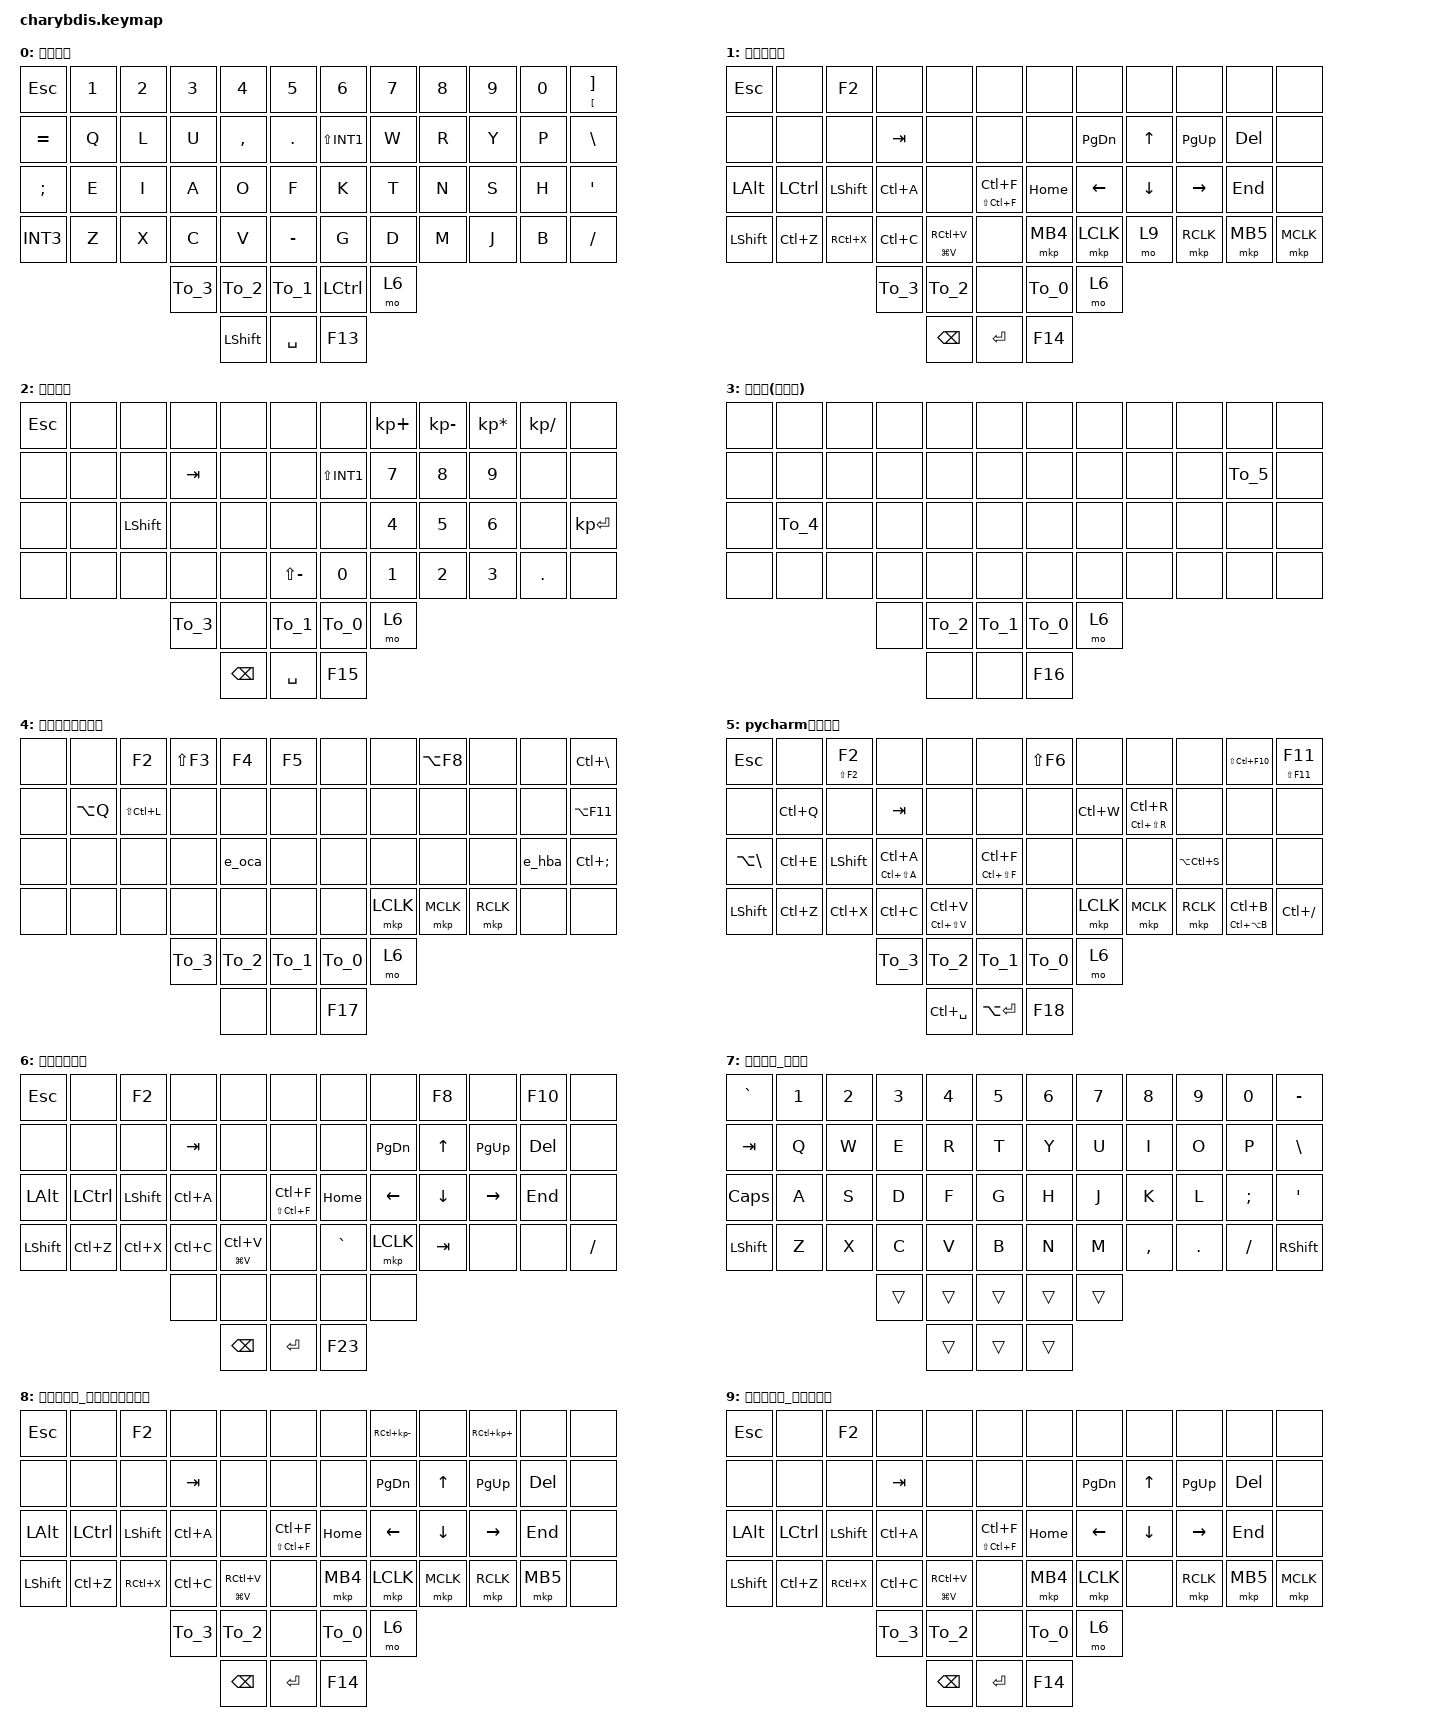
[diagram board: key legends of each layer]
#include <dt-bindings/zmk/mouse.h>
#include <behaviors/mouse_keys.dtsi>
#include <behaviors.dtsi>
#include <dt-bindings/zmk/keys.h>
#include <dt-bindings/zmk/pointing.h>

/ {
    /* --- トラックボール入力設定  --- */

    trackball_listener {
        compatible = "zmk,input-behavior-listener";
        device = <&vtrackball>;
        status = "okay";

        /* 根拠: 0,1,2の全レイヤーでマウス移動を許可する */

        layers = <0 1 2 3 4 5 6 7 8>;
        evt-type = <INPUT_EV_REL>;
        x-input-code = <INPUT_REL_X>;
        y-input-code = <INPUT_REL_Y>;
        scale-multiplier = <1>;
        scale-divisor = <4>;
    };

    ib_wheel_scaler: ib_wheel_scaler {
        compatible = "zmk,input-behavior-scaler";
        #binding-cells = <2>;
        evt-type = <INPUT_EV_REL>;
        input-code = <INPUT_REL_WHEEL>;
    };

    trackball_scroll_listener {
        compatible = "zmk,input-behavior-listener";
        device = <&vtrackball>;
        status = "okay";

        /* Layer 9 = mouse_scroll */

        layers = <9>;
        evt-type = <INPUT_EV_REL>;

        /* 横方向はいったん無視 */

        x-input-code = <INPUT_REL_MISC>;

        /* 縦方向のトラックボール移動をスクロールに変換 */

        y-input-code = <INPUT_REL_WHEEL>;
        y-invert;

        /* 2つ目の数字を小さくすると速く、大きくすると遅くなる */

        bindings = <&ib_wheel_scaler 1 32>;
    };

    /* --- コンボ設定 --- */

    combos {
        compatible = "zmk,combos";

        zenkaku-hankaku-toggle {
            bindings = <&kp GRAVE>;
            key-positions = <14 13>;
            timeout-ms = <60>;
            require-prior-idle-ms = <100>;
            layers = <0 2 1 3>;
            slow-release;
        };

        voice_input {
            bindings = <&kp LC(LEFT_GUI)>;
            key-positions = <36 37>;
            layers = <0 2 1>;
        };

        left {
            bindings = <&left_arrow>;
            key-positions = <37 31>;
            layers = <0>;
        };

        upper {
            bindings = <&upper_arrow>;
            key-positions = <37 20>;
            layers = <0>;
        };

        under {
            bindings = <&under_arrow>;
            key-positions = <37 32>;
            layers = <0>;
        };

        right {
            bindings = <&right_arrow>;
            key-positions = <37 33>;
            layers = <0>;
        };
    };

    /* --- 特殊挙動定義 (エラー解消の根拠) --- */

    behaviors {
        auto_shift: auto_shift {
            compatible = "zmk,behavior-hold-tap";
            label = "AUTO_SHIFT";
            #binding-cells = <2>;
            flavor = "tap-preferred";
            tapping-term-ms = <280>;
            quick-tap-ms = <175>;
            bindings = <&kp>, <&kp>;
        };

        hmr: hmr {
            compatible = "zmk,behavior-hold-tap";
            label = "HMR";
            #binding-cells = <2>;
            tapping-term-ms = <190>;
            quick-tap-ms = <175>;
            flavor = "balanced";
            bindings = <&kp>, <&kp>;

            hold-trigger-key-positions = <0 1 2 3 4 5 12 13 14 15 16 17 24 25 26 27 28 29 36 37 38 39 40 41 48 49 50 51 52 53 54 55>;
        };

        hml: hml {
            compatible = "zmk,behavior-hold-tap";
            label = "HML";
            #binding-cells = <2>;
            tapping-term-ms = <190>;
            quick-tap-ms = <175>;
            flavor = "balanced";
            bindings = <&kp>, <&kp>;

            hold-trigger-key-positions = <6 7 8 9 10 11 18 19 20 21 22 23 30 31 32 33 34 35 42 43 44 45 46 47 48 49 50 51 52 53 54 55>;
        };
    };

    /* --- キーマップ --- */

    macros {
        e_oca: e_adjust {
            compatible = "zmk,behavior-macro";
            #binding-cells = <0>;
            bindings = <&kp LALT &kp O &kp C &kp A>;
            label = "E_ADJUST";
            wait-ms = <50>;
        };

        e_hba: e_hba {
            compatible = "zmk,behavior-macro";
            #binding-cells = <0>;
            bindings = <&kp LALT &kp H &kp B &kp A>;
            label = "E_HBA";
            wait-ms = <50>;
        };

        To_0: To_0 {
            compatible = "zmk,behavior-macro";
            #binding-cells = <0>;
            bindings = <&to 0>, <&macro_wait_time 100>, <&kp F13>;

            label = "TO_0";
        };

        To_1: To_1 {
            compatible = "zmk,behavior-macro";
            #binding-cells = <0>;
            bindings = <&to 1>, <&macro_wait_time 100>, <&kp F14>;

            label = "TO_1";
        };

        To_2: To_2 {
            compatible = "zmk,behavior-macro";
            #binding-cells = <0>;
            bindings = <&to 2>, <&macro_wait_time 100>, <&kp F15>;

            label = "TO_2";
        };

        To_3: To_3 {
            compatible = "zmk,behavior-macro";
            #binding-cells = <0>;
            bindings = <&to 3>, <&macro_wait_time 100>, <&kp F16>;

            label = "TO_3";
        };

        left_arrow: left_arrow {
            compatible = "zmk,behavior-macro";
            #binding-cells = <0>;
            bindings = <&kp Z &kp H>;
            label = "LEFT";
        };

        under_arrow: under_arrow {
            compatible = "zmk,behavior-macro";
            #binding-cells = <0>;
            bindings = <&kp Z &kp J>;
            label = "UNDER_ARROW";
        };

        upper_arrow: upper_arrow {
            compatible = "zmk,behavior-macro";
            #binding-cells = <0>;
            bindings = <&kp Z &kp K>;
            label = "UPPER_ARROW";
        };

        right_arrow: right_arrow {
            compatible = "zmk,behavior-macro";
            #binding-cells = <0>;
            bindings = <&kp Z &kp L>;
            label = "RIGHT";
        };

        To_4: To_4 {
            compatible = "zmk,behavior-macro";
            #binding-cells = <0>;
            bindings = <&to 4>, <&macro_wait_time 100>, <&kp F17>;

            label = "TO_4";
        };

        To_5: To_5 {
            compatible = "zmk,behavior-macro";
            #binding-cells = <0>;
            bindings = <&to 5>, <&macro_wait_time 100>, <&kp F18>;

            label = "TO_5";
        };
    };

    keymap {
        compatible = "zmk,keymap";

        onisi {
            label = "大西配列";
            bindings = <
&kp ESC        &kp NUMBER_1  &kp NUMBER_2  &kp NUMBER_3  &kp NUMBER_4    &kp N5        &kp NUMBER_6  &kp NUMBER_7  &kp NUMBER_8  &kp NUMBER_9  &kp NUMBER_0  &auto_shift LBKT RBKT
&kp EQUAL      &kp Q         &kp L         &kp U         &kp COMMA       &kp PERIOD    &kp LS(INT1)  &kp W         &kp R         &kp Y         &kp P         &kp BSLH
&kp SEMICOLON  &kp E         &kp I         &kp A         &kp O           &kp F         &kp K         &kp T         &kp N         &kp S         &kp H         &kp SQT
&kp INT3       &kp Z         &kp X         &kp C         &kp V           &kp MINUS     &kp G         &kp D         &kp M         &kp J         &kp B         &kp SLASH
                                           &To_3         &To_2           &To_1         &kp LCTRL     &mo 6
                                                         &kp LEFT_SHIFT  &kp SPACE     &kp F13
            >;
        };

        mouse {
            label = "マウス移動";
            bindings = <
&kp ESC    &none      &kp F2     &none      &none                    &none                          &none     &none          &none     &none        &none     &none
&none      &none      &none      &kp TAB    &none                    &none                          &none     &kp PAGE_DOWN  &kp UP    &kp PAGE_UP  &kp DEL   &none
&kp LALT   &kp LCTRL  &kp LSHFT  &kp LC(A)  &none                    &auto_shift LS(LC(F)) LC(F)    &kp HOME  &kp LEFT       &kp DOWN  &kp RIGHT    &kp END   &none
&kp LSHFT  &kp LC(Z)  &kp RC(X)  &kp LC(C)  &auto_shift LG(V) RC(V)  &none                          &mkp MB4  &mkp LCLK      &mo 9     &mkp RCLK    &mkp MB5  &mkp MCLK
                                 &To_3      &To_2                    &none                          &To_0     &mo 6
                                            &kp BSPC                 &kp RET                        &kp F14
            >;
        };

        number {
            bindings = <
&kp ESC  &none  &none      &none    &none     &none            &none         &kp KP_PLUS   &kp KP_MINUS  &kp KP_ASTERISK  &kp KP_SLASH  &none
&none    &none  &none      &kp TAB  &none     &none            &kp LS(INT1)  &kp NUMBER_7  &kp N8        &kp N9           &none         &none
&none    &none  &kp LSHFT  &none    &none     &none            &none         &kp NUMBER_4  &kp NUMBER_5  &kp NUMBER_6     &none         &kp KP_ENTER
&none    &none  &none      &none    &none     &kp LS(MINUS)    &kp NUMBER_0  &kp NUMBER_1  &kp NUMBER_2  &kp NUMBER_3     &kp DOT       &none
                           &To_3    &none     &To_1            &To_0         &mo 6
                                    &kp BSPC  &kp SPACE        &kp F15
            >;

            label = "テンキー";
        };

        app_base {
            bindings = <
&none  &none  &none  &none  &none  &none    &none    &none  &none  &none  &none  &none
&none  &none  &none  &none  &none  &none    &none    &none  &none  &none  &To_5  &none
&none  &To_4  &none  &none  &none  &none    &none    &none  &none  &none  &none  &none
&none  &none  &none  &none  &none  &none    &none    &none  &none  &none  &none  &none
                     &none  &To_2  &To_1    &To_0    &mo 6
                            &none  &none    &kp F16
            >;

            label = "ベース(アプリ)";
        };

        Excel {
            bindings = <
&none  &none      &kp F2         &kp LS(F3)  &kp F4  &kp F5    &none    &none      &kp LA(F8)  &none      &none   &kp LC(BSLH)
&none  &kp LA(Q)  &kp LS(LC(L))  &none       &none   &none     &none    &none      &none       &none      &none   &kp LA(F11)
&none  &none      &none          &none       &e_oca  &none     &none    &none      &none       &none      &e_hba  &kp LC(SEMICOLON)
&none  &none      &none          &none       &none   &none     &none    &mkp LCLK  &mkp MCLK   &mkp RCLK  &none   &none
                                 &To_3       &To_2   &To_1     &To_0    &mo 6
                                             &none   &none     &kp F17
            >;

            label = "エクセルコマンド";
        };

        pycharm {
            bindings = <
&kp ESC            &none      &auto_shift LS(F2) F2  &none                        &none                        &none                          &kp LS(F6)  &none      &none                        &none          &kp LS(LC(F10))              &auto_shift LS(F11) F11
&none              &kp LC(Q)  &none                  &kp TAB                      &none                        &none                          &none       &kp LC(W)  &auto_shift LC(LS(R)) LC(R)  &none          &none                        &none
&kp LA(BACKSLASH)  &kp LC(E)  &kp LSHFT              &auto_shift LC(LS(A)) LC(A)  &none                        &auto_shift LC(LS(F)) LC(F)    &none       &none      &none                        &kp LA(LC(S))  &none                        &none
&kp LSHFT          &kp LC(Z)  &kp LC(X)              &kp LC(C)                    &auto_shift LC(LS(V)) LC(V)  &none                          &none       &mkp LCLK  &mkp MCLK                    &mkp RCLK      &auto_shift LC(LA(B)) LC(B)  &kp LC(SLASH)
                                                     &To_3                        &To_2                        &To_1                          &To_0       &mo 6
                                                                                  &kp LC(SPACE)                &kp LA(RET)                    &kp F18
            >;

            label = "pycharmコマンド";
        };

        edit {
            label = "文字入力確定";
            bindings = <
&kp ESC    &none      &kp F2     &none      &none                    &none                          &none      &none          &kp F8    &none        &kp F10  &none
&none      &none      &none      &kp TAB    &none                    &none                          &none      &kp PAGE_DOWN  &kp UP    &kp PAGE_UP  &kp DEL  &none
&kp LALT   &kp LCTRL  &kp LSHFT  &kp LC(A)  &none                    &auto_shift LS(LC(F)) LC(F)    &kp HOME   &kp LEFT       &kp DOWN  &kp RIGHT    &kp END  &none
&kp LSHFT  &kp LC(Z)  &kp LC(X)  &kp LC(C)  &auto_shift LG(V) LC(V)  &none                          &kp GRAVE  &mkp LCLK      &kp TAB   &none        &none    &kp SLASH
                                 &none      &none                    &none                          &none      &none
                                            &kp BSPC                 &kp RET                        &kp F23
            >;
        };

        qwerty {
            bindings = <
&kp GRAVE  &kp N1  &kp N2  &kp N3  &kp N4  &kp N5    &kp N6  &kp N7  &kp N8     &kp N9   &kp N0         &kp MINUS
&kp TAB    &kp Q   &kp W   &kp E   &kp R   &kp T     &kp Y   &kp U   &kp I      &kp O    &kp P          &kp BSLH
&kp CAPS   &kp A   &kp S   &kp D   &kp F   &kp G     &kp H   &kp J   &kp K      &kp L    &kp SEMICOLON  &kp APOS
&kp LSHFT  &kp Z   &kp X   &kp C   &kp V   &kp B     &kp N   &kp M   &kp COMMA  &kp DOT  &kp FSLH       &kp RSHFT
                           &trans  &trans  &trans    &trans  &trans
                                   &trans  &trans    &trans
            >;

            label = "テスト用_ダミー";
        };

        layer_8 {
            label = "マウス移動_マウススクロール";
            bindings = <
&kp ESC    &none      &kp F2     &none      &none                    &none                          &none     &kp RC(KP_MINUS)  &none      &kp RC(KP_PLUS)  &none     &none
&none      &none      &none      &kp TAB    &none                    &none                          &none     &kp PAGE_DOWN     &kp UP     &kp PAGE_UP      &kp DEL   &none
&kp LALT   &kp LCTRL  &kp LSHFT  &kp LC(A)  &none                    &auto_shift LS(LC(F)) LC(F)    &kp HOME  &kp LEFT          &kp DOWN   &kp RIGHT        &kp END   &none
&kp LSHFT  &kp LC(Z)  &kp RC(X)  &kp LC(C)  &auto_shift LG(V) RC(V)  &none                          &mkp MB4  &mkp LCLK         &mkp MCLK  &mkp RCLK        &mkp MB5  &none
                                 &To_3      &To_2                    &none                          &To_0     &mo 6
                                            &kp BSPC                 &kp RET                        &kp F14
            >;
        };

        mouse_scroll {
            label = "マウス移動_スクロール";
            bindings = <
&kp ESC    &none      &kp F2     &none      &none                    &none                          &none     &none          &none     &none        &none     &none
&none      &none      &none      &kp TAB    &none                    &none                          &none     &kp PAGE_DOWN  &kp UP    &kp PAGE_UP  &kp DEL   &none
&kp LALT   &kp LCTRL  &kp LSHFT  &kp LC(A)  &none                    &auto_shift LS(LC(F)) LC(F)    &kp HOME  &kp LEFT       &kp DOWN  &kp RIGHT    &kp END   &none
&kp LSHFT  &kp LC(Z)  &kp RC(X)  &kp LC(C)  &auto_shift LG(V) RC(V)  &none                          &mkp MB4  &mkp LCLK      &none     &mkp RCLK    &mkp MB5  &mkp MCLK
                                 &To_3      &To_2                    &none                          &To_0     &mo 6
                                            &kp BSPC                 &kp RET                        &kp F14
            >;
        };
    };
};
